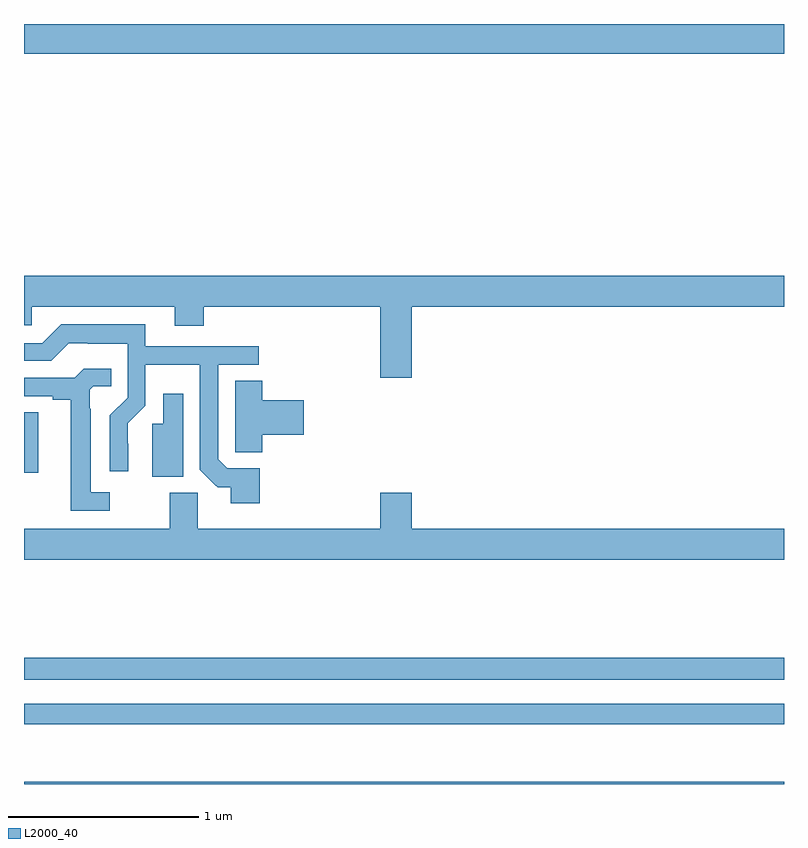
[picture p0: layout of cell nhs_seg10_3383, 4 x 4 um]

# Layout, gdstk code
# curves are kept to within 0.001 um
import gdstk
lib = gdstk.Library(unit=1e-6, precision=1e-09)
def R(c, l, rs):  # rectangles x0, y0, x1, y1
    for r in rs: c.add(gdstk.rectangle(r[:2], r[2:], *l))
def P(c, l, *ps):  # polygons
    for p in ps: c.add(gdstk.Polygon(p, *l))
L2000_40 = (2000, 40)

nhs_seg10_3383 = lib.new_cell('nhs_seg10_3383')
R(nhs_seg10_3383, L2000_40, [(295,1268.5,299,1268.512), (295,1268.814,299,1268.922), (295,1269.048,299,1269.164), (295,1270.137,295.075,1270.457), (295,1272.344,299,1272.5)])
P(nhs_seg10_3383, L2000_40, [(297.04,1271.012),(299,1271.012),(299,1271.176),(295,1271.176),(295,1270.914),(295.041,1270.914),(295.041,1271.012),(295.793,1271.012),(295.793,1270.913),(295.946,1270.913),(295.946,1271.012),(296.876,1271.012),(296.876,1270.638),(297.04,1270.638)],
  [(296.24,1270.161),(296.07,1270.161),(296.022,1270.209),(296.022,1270.707),(296.236,1270.707),(296.236,1270.803),(295.639,1270.803),(295.639,1270.921),(295.195,1270.921),(295.095,1270.821),(295,1270.821),(295,1270.728),(295.143,1270.728),(295.236,1270.821),(295.336,1270.821),(295.336,1270.817),(295.545,1270.817),(295.545,1270.533),(295.452,1270.44),(295.452,1270.146),(295.548,1270.146),(295.547,1270.398),(295.638,1270.49),(295.638,1270.706),(295.926,1270.706),(295.926,1270.155),(296.019,1270.063),(296.087,1270.063),(296.087,1269.978),(296.24,1269.978)],
  [(295.45,1270.035),(295.351,1270.035),(295.351,1270.475),(295.347,1270.475),(295.347,1270.575),(295.365,1270.593),(295.46,1270.593),(295.46,1270.685),(295.314,1270.685),(295.266,1270.638),(295,1270.638),(295,1270.542),(295.151,1270.542),(295.151,1270.522),(295.247,1270.522),(295.247,1269.939),(295.45,1269.939)],
  [(296.255,1270.337),(296.473,1270.337),(296.473,1270.52),(296.255,1270.52),(296.255,1270.622),(296.111,1270.622),(296.111,1270.354),(296.112,1270.354),(296.112,1270.246),(296.255,1270.246)],
  [(295.837,1270.555),(295.733,1270.555),(295.733,1270.395),(295.676,1270.395),(295.676,1270.117),(295.837,1270.117)],
  [(299,1269.844),(297.04,1269.844),(297.04,1270.033),(296.876,1270.033),(296.876,1269.844),(295.914,1269.844),(295.914,1270.032),(295.768,1270.032),(295.768,1269.844),(295,1269.844),(295,1269.68),(299,1269.68)])

lib.write_gds('nhs_seg10_3383.gds')
